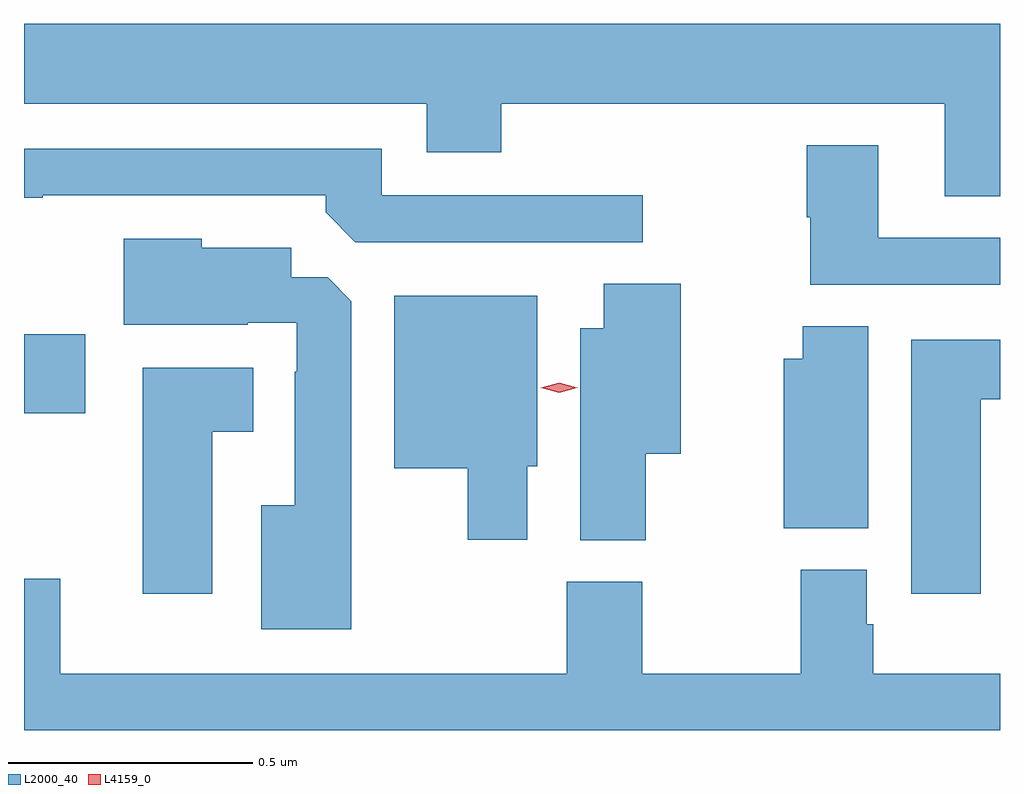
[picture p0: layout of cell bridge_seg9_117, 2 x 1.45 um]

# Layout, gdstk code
import gdstk
lib = gdstk.Library(unit=1e-6, precision=1e-09)
def R(c, l, rs):  # rectangles x0, y0, x1, y1
    for r in rs: c.add(gdstk.rectangle(r[:2], r[2:], *l))
def P(c, l, *ps):  # polygons
    for p in ps: c.add(gdstk.Polygon(p, *l))
L2000_40 = (2000, 40)
L4159_0 = (4159, 0)

bridge_seg9_117 = lib.new_cell('bridge_seg9_117')
R(bridge_seg9_117, L2000_40, [(635.294,1165.15,635.419,1165.312)])
P(bridge_seg9_117, L2000_40, [(635.294,1165.784),(636.119,1165.784),(636.119,1165.685),(636.272,1165.685),(636.272,1165.784),(637.181,1165.784),(637.181,1165.594),(637.294,1165.594),(637.294,1165.948),(635.294,1165.948)],
  [(637.294,1165.509),(637.045,1165.509),(637.045,1165.699),(636.898,1165.699),(636.898,1165.551),(636.905,1165.551),(636.905,1165.413),(637.294,1165.413)],
  [(636.562,1165.596),(636.027,1165.596),(636.027,1165.692),(635.294,1165.692),(635.294,1165.591),(635.332,1165.591),(635.332,1165.596),(635.912,1165.596),(635.912,1165.562),(635.973,1165.5),(636.562,1165.5)],
  [(635.965,1165.379),(635.916,1165.428),(635.842,1165.428),(635.842,1165.489),(635.658,1165.489),(635.658,1165.507),(635.498,1165.507),(635.498,1165.331),(635.753,1165.331),(635.753,1165.335),(635.853,1165.335),(635.853,1165.235),(635.849,1165.235),(635.849,1164.961),(635.78,1164.961),(635.78,1164.707),(635.965,1164.707)],
  [(636.568,1165.067),(636.64,1165.067),(636.64,1165.415),(636.482,1165.415),(636.482,1165.324),(636.434,1165.324),(636.434,1164.889),(636.568,1164.889)],
  [(636.325,1165.041),(636.346,1165.041),(636.346,1165.39),(636.053,1165.39),(636.053,1165.037),(636.203,1165.037),(636.203,1164.891),(636.325,1164.891)],
  [(637.024,1165.328),(636.89,1165.328),(636.89,1165.261),(636.851,1165.261),(636.851,1164.914),(637.024,1164.914)],
  [(637.255,1165.178),(637.294,1165.178),(637.294,1165.3),(637.112,1165.3),(637.112,1164.78),(637.255,1164.78)],
  [(635.68,1165.112),(635.764,1165.112),(635.764,1165.243),(635.537,1165.243),(635.537,1164.78),(635.68,1164.78)],
  [(637.294,1164.616),(637.034,1164.616),(637.034,1164.717),(637.021,1164.717),(637.021,1164.829),(636.886,1164.829),(636.886,1164.616),(636.561,1164.616),(636.561,1164.804),(636.406,1164.804),(636.406,1164.616),(635.368,1164.616),(635.368,1164.811),(635.294,1164.811),(635.294,1164.5),(637.294,1164.5)])
P(bridge_seg9_117, L4159_0, [(636.391,1165.192),(636.353,1165.202),(636.353,1165.202),(636.353,1165.202),(636.391,1165.212),(636.428,1165.202),(636.429,1165.202),(636.428,1165.202)])

lib.write_gds('bridge_seg9_117.gds')
